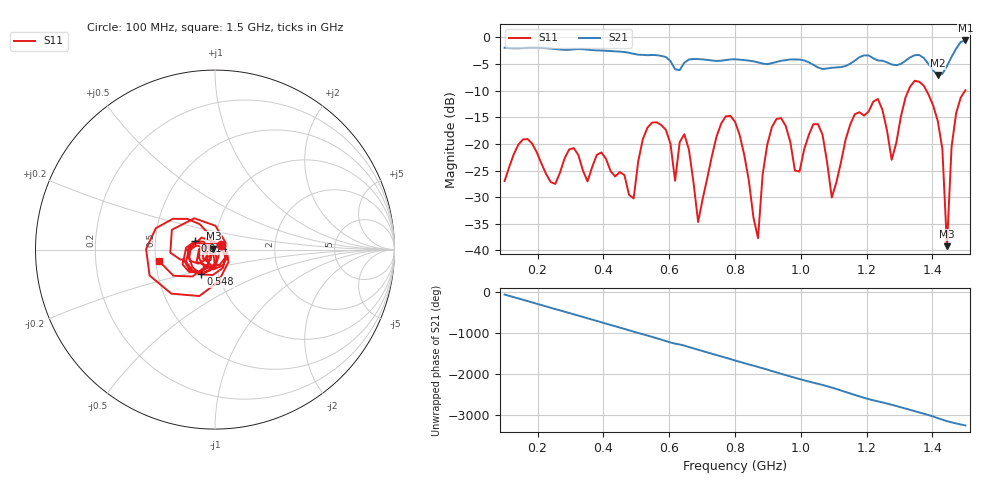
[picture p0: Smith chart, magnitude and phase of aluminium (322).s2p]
! NanoVNA-App
! Date: 2025-09-25 14:57:47
! Start: 100MHz Stop: 1,5GHz Points: 101
! S-Parameter data: F S11 S21 S12 S22
# Hz S RI R 50
!  Frequency  S11_Real  S11_Imag  S21_Real  S21_Imag  S12_Real  S12_Imag  S22_Real  S22_Imag
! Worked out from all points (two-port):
!   101 points, 100 MHz to 1.5 GHz, reference 50 ohm
!   highest |S21| = -0.56 dB at 1.5 GHz (marker M1); lowest = -7.1 dB at 1.416 GHz (marker M2)
!   |S21| within 3 dB of the highest: start of sweep to 582.4 MHz; 1.459 GHz to end of sweep (the widest 2 of 4)
!   lowest |S11| = -39.2 dB at 1.444 GHz (marker M3), VSWR 1.02, Z = 49.1 + j0.573 ohm
!   |S11| at or under -10 dB: start of sweep to 1.327 GHz; 1.382 GHz to 1.499 GHz (117.5 MHz wide, 8.15 % of centre)
!   S12 and S22 are empty: the file has one direction only
!   S11 on the Smith chart (normalised r, x): 100 MHz: 1.07, +0.06; 548 MHz: 0.82, -0.23; 814 MHz: 0.79, +0.07; 1.5 GHz: 0.52, -0.07
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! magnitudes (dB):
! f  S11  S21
! 100 MHz  -27.0  -1.9
! 338 MHz  -25.0  -2.2
! 492 MHz  -30.2  -3.1
! 548 MHz  -16.0  -3.3
! 576 MHz  -16.5  -3.5
! 618 MHz  -26.9  -6.0
! 646 MHz  -18.2  -4.7
! 688 MHz  -34.7  -4.1
! 800 MHz  -15.8  -4.1
! 814 MHz  -18.3  -4.2
! 870 MHz  -37.7  -4.7
! 912 MHz  -16.8  -4.8
! 996 MHz  -25.2  -4.1
! 1.038 GHz  -16.3  -5.1
! 1.094 GHz  -30.1  -5.7
! 1.22 GHz  -12.1  -3.9
! 1.276 GHz  -23.0  -5.1
! 1.346 GHz  -8.1  -3.3
! 1.416 GHz  -15.7  -7.1
! 1.444 GHz  -39.2  -5.4
! 1.458 GHz  -20.5  -3.6
! 1.5 GHz  -9.9  -0.6
